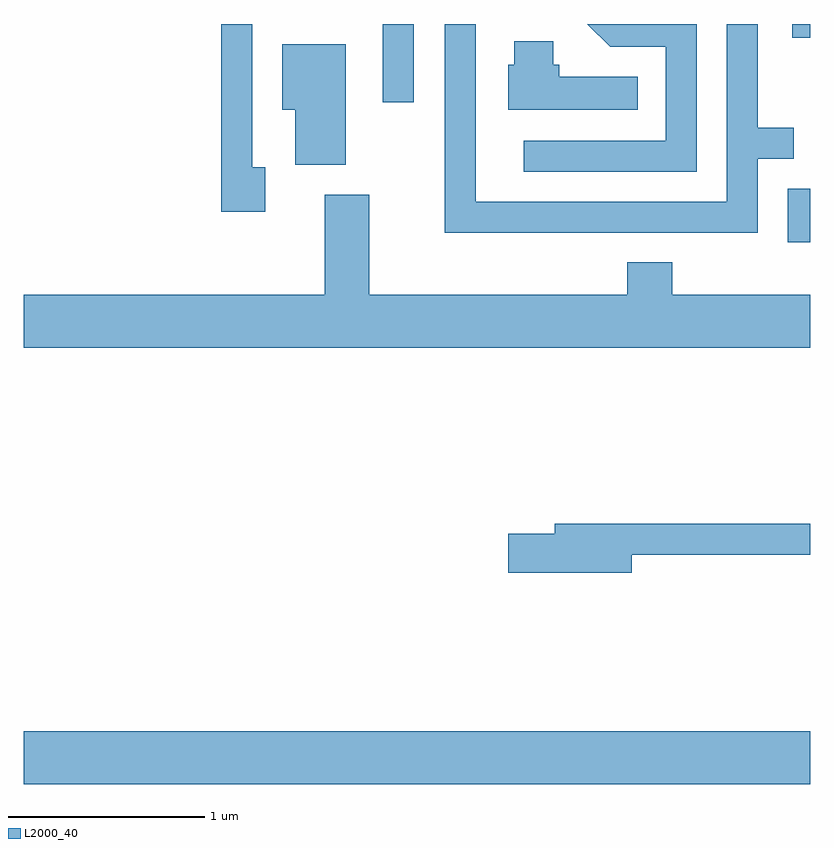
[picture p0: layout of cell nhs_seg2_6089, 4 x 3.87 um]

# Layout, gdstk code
import gdstk
lib = gdstk.Library(unit=1e-6, precision=1e-09)
def R(c, l, rs):  # rectangles x0, y0, x1, y1
    for r in rs: c.add(gdstk.rectangle(r[:2], r[2:], *l))
def P(c, l, *ps):  # polygons
    for p in ps: c.add(gdstk.Polygon(p, *l))
L2000_40 = (2000, 40)

nhs_seg2_6089 = lib.new_cell('nhs_seg2_6089')
R(nhs_seg2_6089, L2000_40, [(365.611,983.936,369.611,984.204), (369.496,986.693,369.611,986.964), (367.436,987.403,367.594,987.802), (369.521,987.731,369.611,987.802)])
P(nhs_seg2_6089, L2000_40, [(369.344,987.116),(369.528,987.116),(369.528,987.274),(369.344,987.274),(369.344,987.802),(369.186,987.802),(369.186,986.899),(367.909,986.899),(367.909,987.802),(367.751,987.802),(367.751,986.741),(369.344,986.741)],
  [(366.839,987.074),(366.774,987.074),(366.774,987.802),(366.616,987.802),(366.616,986.846),(366.839,986.846)],
  [(369.034,987.802),(368.478,987.802),(368.594,987.686),(368.876,987.686),(368.876,987.209),(368.153,987.209),(368.153,987.051),(369.034,987.051)],
  [(368.733,987.534),(368.334,987.534),(368.334,987.594),(368.304,987.594),(368.304,987.714),(368.106,987.714),(368.106,987.594),(368.076,987.594),(368.076,987.366),(368.733,987.366)],
  [(367.249,987.699),(366.926,987.699),(366.926,987.366),(366.991,987.366),(366.991,987.086),(367.249,987.086)],
  [(369.611,986.424),(368.909,986.424),(368.909,986.589),(368.681,986.589),(368.681,986.424),(367.369,986.424),(367.369,986.934),(367.141,986.934),(367.141,986.424),(365.611,986.424),(365.611,986.156),(369.611,986.156)],
  [(368.704,985.101),(369.611,985.101),(369.611,985.259),(368.311,985.259),(368.311,985.209),(368.076,985.209),(368.076,985.011),(368.704,985.011)])

lib.write_gds('nhs_seg2_6089.gds')
